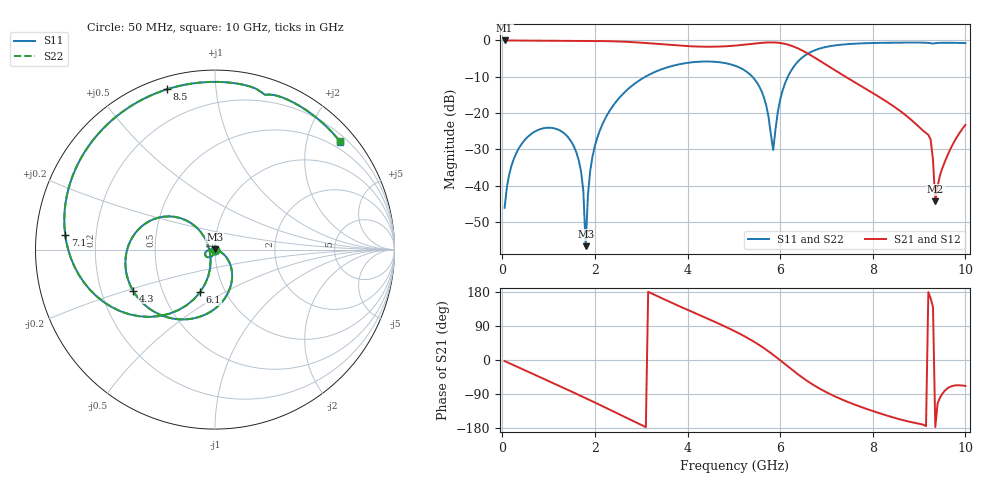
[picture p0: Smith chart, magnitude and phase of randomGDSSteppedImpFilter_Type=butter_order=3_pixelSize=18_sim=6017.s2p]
! freq	dB(S11)	phase(S11)	dB(S12)	phase(S12)
!  dB(S21)	phase(S21)	dB(S22)	phase(S22)
!S-par simulation data
#  GHz  S  DB  R 50
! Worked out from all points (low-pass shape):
!   200 points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, 50 MHz to 10 GHz, reference 50 ohm
!   highest |S21| = -0.01 dB at 50 MHz (marker M1); lowest = -44.4 dB at 9.35 GHz (marker M2)
!   |S21| within 3 dB of the highest: start of sweep to 6.512 GHz
!   lowest |S11| = -56.7 dB at 1.8 GHz (marker M3), VSWR 1.00, Z = 49.9 + j0.0863 ohm
!   |S11| at or under -10 dB: start of sweep to 3.088 GHz; 5.4 GHz to 6.167 GHz (767.3 MHz wide, 13.3 % of centre)
!   |S22| runs from -56.5 to -0.6 dB; largest |S21 - S12| = 0
!   S11 on the Smith chart (normalised r, x): 50 MHz: 1.00, -0.01; 4.3 GHz: 0.34, -0.21; 6.1 GHz: 0.76, -0.39; 7.1 GHz: 0.09, +0.05; 8.5 GHz: 0.05, +0.74; 10 GHz: 0.34, +2.65
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0.05  -46.09 -88.7  -0.01 -2.8  -0.01 -2.8  -46.09 -88.7
0.3  -31.10 -106.3  -0.03 -16.8  -0.03 -16.8  -31.10 -106.3
0.9  -24.16 -140.7  -0.08 -50.0  -0.08 -50.0  -24.16 -140.7
1.5  -28.09 -174.5  -0.11 -83.6  -0.11 -83.6  -28.08 -174.4
1.75  -41.41 170.8  -0.12 -97.8  -0.12 -97.8  -41.38 171.5
1.8  -56.67 143.9  -0.12 -100.7  -0.12 -100.7  -56.55 -169.0
1.9  -35.77 -17.0  -0.13 -106.4  -0.13 -106.4  -35.78 -17.4
2.15  -23.44 -31.8  -0.17 -121.0  -0.17 -121.0  -23.45 -31.9
3.4  -8.13 -104.9  -1.01 165.5  -1.01 165.5  -8.13 -104.9
4.3  -5.83 -153.4  -1.71 116.3  -1.71 116.3  -5.83 -153.5
5.05  -7.08 165.6  -1.40 74.1  -1.40 74.1  -7.08 165.6
5.6  -14.01 132.1  -0.66 35.4  -0.66 35.4  -14.02 132.2
5.85  -30.17 -159.2  -0.55 13.6  -0.55 13.6  -30.10 -159.0
6.1  -12.00 -109.3  -0.93 -10.5  -0.93 -10.5  -12.00 -109.3
6.7  -2.96 -158.8  -4.38 -64.4  -4.38 -64.4  -2.96 -158.8
7.1  -1.53 174.3  -7.55 -91.3  -7.55 -91.3  -1.53 174.3
8.35  -0.63 113.1  -17.28 -148.3  -17.28 -148.3  -0.63 113.2
8.5  -0.61 106.6  -18.58 -153.7  -18.58 -153.7  -0.61 106.6
9.25  -0.78 73.5  -27.32 162.6  -27.32 162.6  -0.79 73.6
9.35  -0.77 70.7  -44.35 -176.9  -44.35 -176.9  -0.78 70.9
9.55  -0.64 61.5  -33.61 -81.8  -33.61 -81.8  -0.64 61.7
10  -0.72 40.8  -23.26 -68.5  -23.26 -68.5  -0.72 41.0
